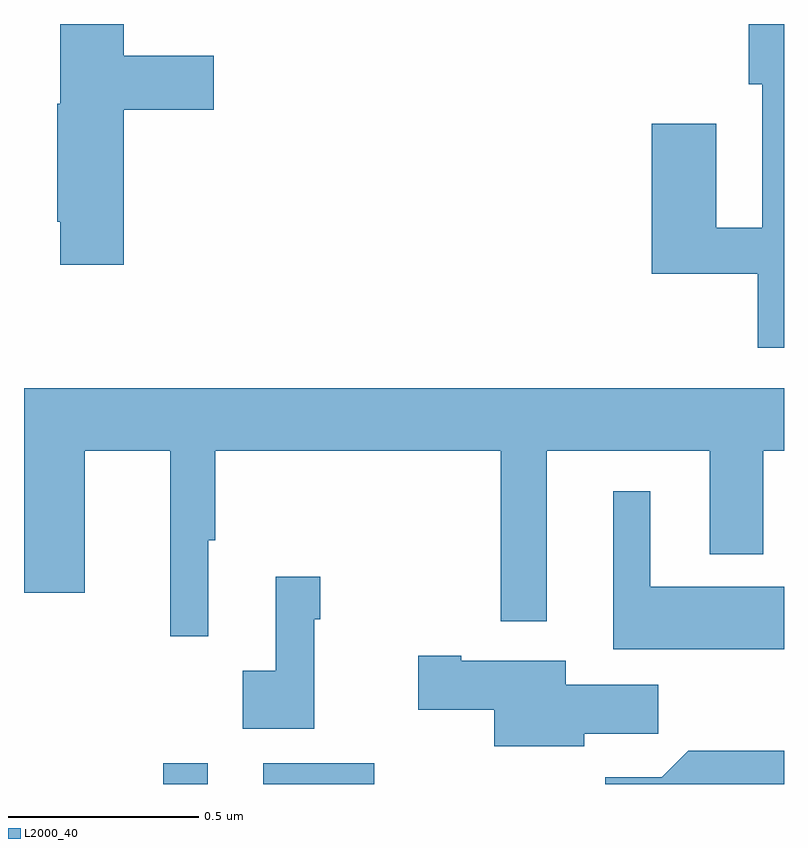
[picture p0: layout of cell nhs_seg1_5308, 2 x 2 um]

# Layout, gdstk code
import gdstk
lib = gdstk.Library(unit=1e-6, precision=1e-09)
def R(c, l, rs):  # rectangles x0, y0, x1, y1
    for r in rs: c.add(gdstk.rectangle(r[:2], r[2:], *l))
def P(c, l, *ps):  # polygons
    for p in ps: c.add(gdstk.Polygon(p, *l))
L2000_40 = (2000, 40)

nhs_seg1_5308 = lib.new_cell('nhs_seg1_5308')
R(nhs_seg1_5308, L2000_40, [(177.367,540.199,177.483,540.253), (177.629,540.199,177.922,540.253)])
P(nhs_seg1_5308, L2000_40, [(177.263,541.973),(177.499,541.973),(177.499,542.115),(177.263,542.115),(177.263,542.199),(177.095,542.199),(177.095,541.989),(177.088,541.989),(177.088,541.678),(177.095,541.678),(177.095,541.566),(177.263,541.566)],
  [(179,542.199),(178.907,542.199),(178.907,542.04),(178.943,542.04),(178.943,541.663),(178.822,541.663),(178.822,541.936),(178.652,541.936),(178.652,541.542),(178.931,541.542),(178.931,541.347),(179,541.347)],
  [(177.485,540.84),(177.503,540.84),(177.503,541.076),(178.254,541.076),(178.254,540.627),(178.375,540.627),(178.375,541.076),(178.805,541.076),(178.805,540.803),(178.945,540.803),(178.945,541.076),(179,541.076),(179,541.24),(177,541.24),(177,540.702),(177.16,540.702),(177.16,541.076),(177.385,541.076),(177.385,540.588),(177.485,540.588)],
  [(179,540.718),(178.648,540.718),(178.648,540.97),(178.55,540.97),(178.55,540.554),(179,540.554)],
  [(177.764,540.632),(177.779,540.632),(177.779,540.745),(177.662,540.745),(177.662,540.497),(177.576,540.497),(177.576,540.344),(177.764,540.344)],
  [(178.474,540.331),(178.669,540.331),(178.669,540.46),(178.426,540.46),(178.426,540.523),(178.15,540.523),(178.15,540.536),(178.038,540.536),(178.038,540.394),(178.238,540.394),(178.238,540.299),(178.474,540.299)],
  [(179,540.287),(178.748,540.287),(178.678,540.217),(178.529,540.217),(178.529,540.199),(179,540.199)])

lib.write_gds('nhs_seg1_5308.gds')
